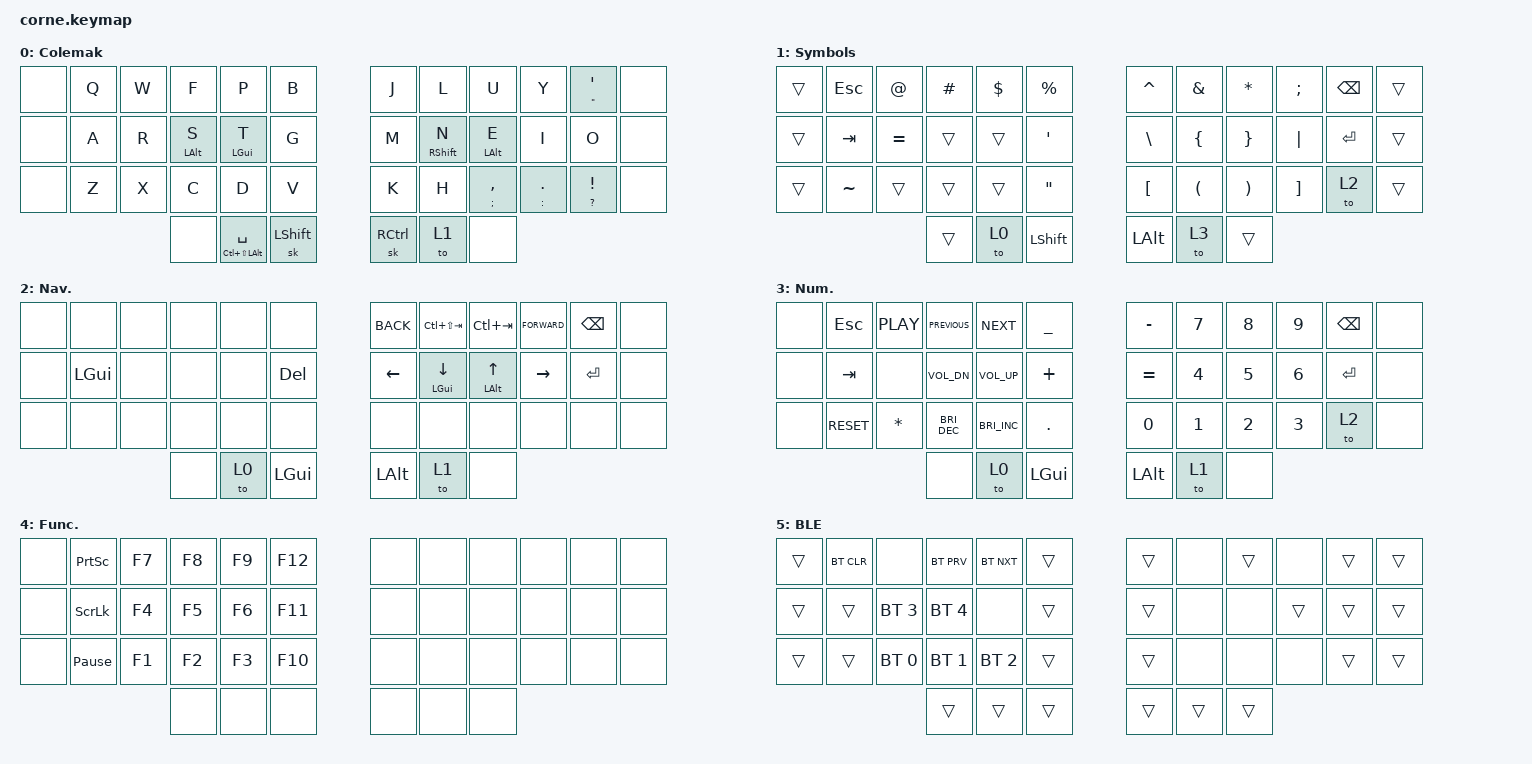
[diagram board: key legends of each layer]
/*
 * Copyright (c) 2020 The ZMK Contributors
 *
 * SPDX-License-Identifier: MIT
 */

#include <behaviors.dtsi>
#include <dt-bindings/zmk/bt.h>
#include <dt-bindings/zmk/keys.h>

/ {
    combos {
        compatible = "zmk,combos";

        arobase {
            bindings = <&kp AT>;
            key-positions = <14 2>;
        };

        grave {
            bindings = <&kp GRAVE>;
            key-positions = <14 26>;
        };

        escape {
            bindings = <&kp ESCAPE>;
            key-positions = <2 3>;
        };

        cut {
            bindings = <&kp LC(X)>;
            key-positions = <14 15>;
        };

        copy {
            bindings = <&kp LC(C)>;
            key-positions = <26 27>;
        };

        hashtag {
            bindings = <&kp HASH>;
            key-positions = <15 3>;
        };

        backslash {
            bindings = <&kp BACKSLASH>;
            key-positions = <15 27>;
        };

        enter {
            bindings = <&kp ENTER>;
            key-positions = <4 3>;
        };

        tab {
            bindings = <&kp TAB>;
            key-positions = <15 16>;
        };

        paste {
            bindings = <&kp LC(V)>;
            key-positions = <28 27>;
        };

        dollar {
            bindings = <&kp DOLLAR>;
            key-positions = <16 4>;
        };

        equal {
            bindings = <&kp EQUAL>;
            key-positions = <16 28>;
        };

        percent {
            bindings = <&kp PERCENT>;
            key-positions = <17 5>;
        };

        tilde {
            bindings = <&kp TILDE>;
            key-positions = <29 17>;
        };

        caret {
            bindings = <&kp CARET>;
            key-positions = <6 18>;
        };

        underscore {
            bindings = <&kp UNDERSCORE>;
            key-positions = <30 18>;
        };

        plus {
            bindings = <&kp KP_PLUS>;
            key-positions = <7 19>;
        };

        minus {
            bindings = <&mt UNDERSCORE MINUS>;
            key-positions = <31 19>;
        };

        backspace {
            bindings = <&kp BACKSPACE>;
            key-positions = <7 8>;
        };

        left_paren {
            bindings = <&mt LESS_THAN LEFT_PARENTHESIS>;
            key-positions = <19 20>;
        };

        left_bracket {
            bindings = <&mt LEFT_BRACE LEFT_BRACKET>;
            key-positions = <31 32>;
        };

        asterisk {
            bindings = <&kp ASTERISK>;
            key-positions = <8 20>;
        };

        slash {
            bindings = <&mt BACKSLASH SLASH>;
            key-positions = <20 32>;
        };

        delete {
            bindings = <&kp DEL>;
            key-positions = <9 8>;
        };

        right_paren {
            bindings = <&mt GREATER_THAN RIGHT_PARENTHESIS>;
            key-positions = <21 20>;
        };

        right_bracket {
            bindings = <&mt RIGHT_BRACE RIGHT_BRACKET>;
            key-positions = <32 33>;
        };

        ampersand {
            bindings = <&kp AMPERSAND>;
            key-positions = <9 21>;
        };

        pipe {
            bindings = <&kp PIPE>;
            key-positions = <21 33>;
        };
    };

    behaviors {
        left_hand: left_hand {
            compatible = "zmk,behavior-hold-tap";
            label = "LEFT_HAND";
            bindings = <&kp>, <&kp>;

            #binding-cells = <2>;
            flavor = "tap-preferred";
            tapping-term-ms = <280>;
            hold-trigger-key-positions = <6 19 31 40 39 41 30 18 7 8 20 21 9 10 11 34 35 22 23 33 32 38 37 36>;
            hold-trigger-on-release;
            require-prior-idle-ms = <150>;
        };

        right_hand: right_hand {
            compatible = "zmk,behavior-hold-tap";
            label = "RIGHT_HAND";
            bindings = <&kp>, <&kp>;

            #binding-cells = <2>;
            flavor = "tap-preferred";
            tapping-term-ms = <250>;
            hold-trigger-on-release;
            hold-trigger-key-positions = <0 1 2 3 4 5 12 13 14 15 16 17 24 25 26 27 28 29 36 37 38 39 40 41>;
        };

        caps_ht: caps_ht {
            compatible = "zmk,behavior-hold-tap";
            label = "CAPS_HT";
            bindings = <&kp>, <&caps_word>;

            #binding-cells = <2>;
            tapping-term-ms = <200>;
            flavor = "tap-preferred";
        };

        caps_mo: caps_mo {
            compatible = "zmk,behavior-hold-tap";
            label = "CAPS_MO";
            bindings = <&mo>, <&caps_word>;

            #binding-cells = <2>;
            tapping-term-ms = <200>;
            flavor = "tap-preferred";
        };
    };

    keymap {
        compatible = "zmk,keymap";

        Colemak {
            // -----------------------------------------------------------------------------------------
            // |  TAB |  Q  |  W  |  E  |  R  |  T  |   |  Y  |  U   |  I  |  O  |  P  | BKSP |
            // | CTRL |  A  |  S  |  D  |  F  |  G  |   |  H  |  J   |  K  |  L  |  ;  |  '   |
            // | SHFT |  Z  |  X  |  C  |  V  |  B  |   |  N  |  M   |  ,  |  .  |  /  | ESC  |
            //                    | GUI | LWR | SPC |   | ENT | RSE  | ALT |

            bindings = <
&none  &kp Q  &kp W  &kp F                  &kp P                   &kp B         &kp J      &kp L                      &kp U                   &kp Y             &mt DOUBLE_QUOTES SINGLE_QUOTE  &none
&none  &kp A  &kp R  &left_hand LEFT_ALT S  &left_hand LEFT_GUI T   &kp G         &kp M      &right_hand RIGHT_SHIFT N  &right_hand LEFT_ALT E  &kp I             &kp O                           &none
&none  &kp Z  &kp X  &kp C                  &kp D                   &kp V         &kp K      &kp H                      &mt SEMI COMMA          &mt COLON PERIOD  &mt QUESTION EXCLAMATION        &none
                     &none                  &mt LC(LS(LALT)) SPACE  &sk LSHIFT    &sk RCTRL  &to 1                      &none
            >;

            label = "Colemak";
        };

        Symbols {
            bindings = <
&trans  &kp ESCAPE  &kp AT     &kp HASH  &kp DOLLAR  &kp PERCENT          &kp CARET         &kp AMPERSAND         &kp ASTERISK           &kp SEMICOLON      &kp BACKSPACE  &trans
&trans  &kp TAB     &kp EQUAL  &trans    &trans      &kp APOS             &kp BACKSLASH     &kp LEFT_BRACE        &kp RIGHT_BRACE        &kp PIPE           &kp RETURN     &trans
&trans  &kp TILDE   &trans     &trans    &trans      &kp DOUBLE_QUOTES    &kp LEFT_BRACKET  &kp LEFT_PARENTHESIS  &kp RIGHT_PARENTHESIS  &kp RIGHT_BRACKET  &to 2          &trans
                               &trans    &to 0       &kp LSHIFT           &kp LEFT_ALT      &to 3                 &trans
            >;

            label = "Symbols";
        };

        Navigation {
            // -----------------------------------------------------------------------------------------
            // |  TAB |  !  |  @  |  #  |  $  |  %  |   |  ^  |  &  |  *  |  (  |  )  | BKSP |
            // | CTRL |     |     |     |     |     |   |  -  |  =  |  [  |  ]  |  \  |  `   |
            // | SHFT |     |     |     |     |     |   |  _  |  +  |  {  |  }  | "|" |  ~   |
            //                    | GUI |     | SPC |   | ENT |     | ALT |

            bindings = <
&none  &none     &none  &none  &none  &none           &kp K_BACK    &kp LC(LS(TAB))  &kp LC(TAB)      &kp K_FORWARD  &kp BACKSPACE  &none
&none  &kp LGUI  &none  &none  &none  &kp DEL         &kp LEFT      &mt LGUI DOWN    &mt LEFT_ALT UP  &kp RIGHT      &kp ENTER      &none
&none  &none     &none  &none  &none  &none           &none         &none            &none            &none          &none          &none
                        &none  &to 0  &kp LEFT_GUI    &kp LEFT_ALT  &to 1            &none
            >;

            label = "Nav.";
        };

        Numpad {
            // -----------------------------------------------------------------------------------------
            // |  TAB |  1  |  2  |  3  |  4  |  5  |   |  6  |  7  |  8  |  9  |  0  | BKSP |
            // | BTCLR| BT1 | BT2 | BT3 | BT4 | BT5 |   | LFT | DWN |  UP | RGT |     |      |
            // | SHFT |     |     |     |     |     |   |     |     |     |     |     |      |
            //                    | GUI |     | SPC |   | ENT |     | ALT |

            bindings = <
&none  &kp ESC      &kp C_PLAY  &kp C_PREVIOUS        &kp C_NEXT            &kp UNDER    &kp MINUS     &kp NUMBER_7  &kp NUMBER_8  &kp NUMBER_9  &kp BACKSPACE  &none
&none  &kp TAB      &none       &kp C_VOL_DN          &kp C_VOLUME_UP       &kp PLUS     &kp EQUAL     &kp NUMBER_4  &kp NUMBER_5  &kp NUMBER_6  &kp ENTER      &none
&none  &kp C_RESET  &kp ASTRK   &kp C_BRIGHTNESS_DEC  &kp C_BRIGHTNESS_INC  &kp DOT      &kp N0        &kp NUMBER_1  &kp NUMBER_2  &kp NUMBER_3  &to 2          &none
                                &none                 &to 0                 &kp LGUI     &kp LEFT_ALT  &to 1         &none
            >;

            label = "Num.";
        };

        Function {
            bindings = <
&none  &kp PRINTSCREEN  &kp F7  &kp F8  &kp F9  &kp F12    &none  &none  &none  &none  &none  &none
&none  &kp SCROLLLOCK   &kp F4  &kp F5  &kp F6  &kp F11    &none  &none  &none  &none  &none  &none
&none  &kp PAUSE_BREAK  &kp F1  &kp F2  &kp F3  &kp F10    &none  &none  &none  &none  &none  &none
                                &none   &none   &none      &none  &none  &none
            >;

            label = "Func.";
        };

        Bluetooth {
            bindings = <
&trans  &bt BT_CLR  &none         &bt BT_PRV    &bt BT_NXT    &trans    &trans  &none   &trans  &none   &trans  &trans
&trans  &trans      &bt BT_SEL 3  &bt BT_SEL 4  &none         &trans    &trans  &none   &none   &trans  &trans  &trans
&trans  &trans      &bt BT_SEL 0  &bt BT_SEL 1  &bt BT_SEL 2  &trans    &trans  &none   &none   &none   &trans  &trans
                                  &trans        &trans        &trans    &trans  &trans  &trans
            >;

            label = "BLE";
        };
    };

    conditional_layers { compatible = "zmk,conditional-layers"; };
};
